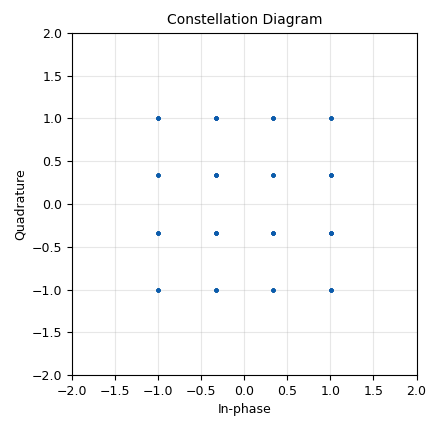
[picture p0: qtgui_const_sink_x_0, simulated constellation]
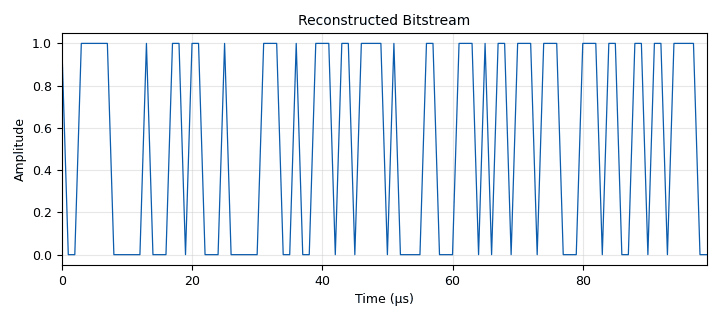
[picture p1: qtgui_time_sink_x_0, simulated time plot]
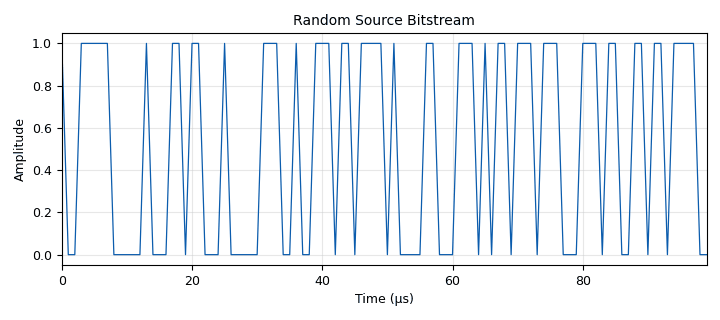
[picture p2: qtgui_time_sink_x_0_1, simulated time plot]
options:
  parameters:
    author: Paul Kim
    generate_options: qt_gui
    id: QAM_implementation_with_noise
    output_language: python
    title: QAM Implementation With Noise
  states: {}

blocks:
- name: QAM16
  id: variable
  parameters:
    value: '[(-3-3j), (-1-3j), (1-3j), (3-3j), (-3-1j), (-1-1j), (1-1j), (3-1j), (-3+1j), (-1+1j), (1+1j), (3+1j), (-3+3j), (-1+3j), (1+3j), (3+3j)]'
  states: {}
- name: QAM16_bits
  id: variable
  parameters:
    value: '4'
  states: {}
- name: QAM16_map
  id: variable
  parameters:
    value: '[0, 4, 12, 8, 1, 5, 13, 9, 3, 7, 15, 11, 2, 6, 14, 10]'
  states: {}
- name: bits_per_chunk
  id: variable_qtgui_chooser
  parameters:
    label0: bpsk_bits
    label1: qpsk_bits
    label2: QAM16_bits
    num_opts: '3'
    option0: bpsk_bits
    option1: qpsk_bits
    option2: QAM16_bits
    type: raw
    value: QAM16_bits
  states: {state: disabled}
- name: bpsk
  id: variable
  parameters:
    value: '[-1+0j, 1+0j]'
  states: {}
- name: bpsk_bits
  id: variable
  parameters:
    value: '1'
  states: {}
- name: bpsk_map
  id: variable
  parameters:
    value: '[0, 1]'
  states: {}
- name: const
  id: variable_constellation
  parameters:
    const_points: QAM16
    dims: '1'
    normalization: digital.constellation.AMPLITUDE_NORMALIZATION
    precision: '8'
    rot_sym: '4'
    sym_map: QAM16_map
    type: calcdist
  states: {}
- name: const
  id: variable_constellation
  parameters:
    npwr: '0'
    precision: '8'
    type: 16qam
  states: {state: disabled}
- name: const_pts
  id: variable_qtgui_chooser
  parameters:
    label0: bpsk
    label1: qpsk
    label2: QAM16
    num_opts: '3'
    option0: bpsk
    option1: qpsk
    option2: QAM16
    orient: Qt.QHBoxLayout
    type: raw
    value: QAM16
  states: {state: disabled}
- name: no_bits
  id: variable
  parameters:
    value: '255'
  states: {}
- name: noise
  id: variable_qtgui_range
  parameters:
    label: Noise Amplitude
    start: '0'
    step: '0.01'
    stop: '1'
    value: '0'
  states: {}
- name: qpsk
  id: variable
  parameters:
    value: '[-1-1j, 1-1j, 1+1j, -1+1j]'
  states: {}
- name: qpsk_bits
  id: variable
  parameters:
    value: '2'
  states: {}
- name: qpsk_map
  id: variable
  parameters:
    value: '[0, 2, 3, 1]'
  states: {}
- name: samp_rate
  id: variable
  parameters:
    value: '1000000'
  states: {}
- name: samples_per_symb
  id: variable
  parameters:
    value: '8'
  states: {}
- name: symb_map
  id: variable_qtgui_chooser
  parameters:
    label0: bpsk_map
    label1: qpsk_map
    label2: QAM16_map
    num_opts: '3'
    option0: bpsk_map
    option1: qpsk_map
    option2: QAM16_map
    type: raw
    value: QAM16_map
  states: {state: disabled}
- name: analog_noise_source_x_0
  id: analog_noise_source_x
  parameters:
    amp: noise
    noise_type: analog.GR_GAUSSIAN
    seed: '0'
    type: complex
  states: {}
- name: analog_random_source_x_0
  id: analog_random_source_x
  parameters:
    max: no_bits
    min: '0'
    num_samps: '1000'
    repeat: 'True'
    type: byte
  states: {}
- name: blocks_add_xx_0
  id: blocks_add_xx
  parameters:
    type: complex
  states: {}
- name: blocks_moving_average_xx_0
  id: blocks_moving_average_xx
  parameters:
    length: '1000'
    max_iter: '4000'
    scale: '1'
    type: float
  states: {}
- name: blocks_packed_to_unpacked_xx_0
  id: blocks_packed_to_unpacked_xx
  parameters:
    bits_per_chunk: QAM16_bits
    endianness: gr.GR_MSB_FIRST
    type: byte
  states: {}
- name: blocks_throttle2_0_0
  id: blocks_throttle2
  parameters:
    samples_per_second: samp_rate
    type: byte
  states: {}
- name: blocks_uchar_to_float_0
  id: blocks_uchar_to_float
  parameters: {}
  states: {}
- name: blocks_uchar_to_float_0_0
  id: blocks_uchar_to_float
  parameters: {}
  states: {}
- name: blocks_uchar_to_float_1
  id: blocks_uchar_to_float
  parameters: {}
  states: {}
- name: blocks_unpack_k_bits_bb_1
  id: blocks_unpack_k_bits_bb
  parameters:
    k: samples_per_symb
  states: {}
- name: blocks_unpack_k_bits_bb_1_0
  id: blocks_unpack_k_bits_bb
  parameters:
    k: samples_per_symb
  states: {}
- name: blocks_unpack_k_bits_bb_1_1
  id: blocks_unpack_k_bits_bb
  parameters:
    k: '8'
  states: {}
- name: blocks_unpack_k_bits_bb_1_2
  id: blocks_unpack_k_bits_bb
  parameters:
    k: '8'
  states: {}
- name: blocks_unpacked_to_packed_xx_0
  id: blocks_unpacked_to_packed_xx
  parameters:
    bits_per_chunk: QAM16_bits
    endianness: gr.GR_MSB_FIRST
    type: byte
  states: {}
- name: blocks_xor_xx_0
  id: blocks_xor_xx
  parameters:
    type: byte
  states: {}
- name: digital_constellation_decoder_cb_0
  id: digital_constellation_decoder_cb
  parameters:
    constellation: const
  states: {}
- name: digital_constellation_encoder_bc_0
  id: digital_constellation_encoder_bc
  parameters:
    constellation: const
  states: {}
- name: qtgui_const_sink_x_0
  id: qtgui_const_sink_x
  parameters:
    name: '"Constellation Diagram"'
    size: '1024'
    type: complex
    update_time: '0.010'
  states: {}
- name: qtgui_number_sink_0_0
  id: qtgui_number_sink
  parameters:
    graph_type: qtgui.NUM_GRAPH_HORIZ
    max: '500'
    min: '0'
    name: '"Error Rate/1000 (Moving Avg)"'
    type: float
    update_time: '0.1'
  states: {}
- name: qtgui_time_sink_x_0
  id: qtgui_time_sink_x
  parameters:
    autoscale: 'True'
    grid: 'True'
    name: '"Reconstructed Bitstream"'
    size: '100'
    srate: samp_rate
    type: float
    update_time: '1'
    ymax: '-1'
    ymin: '1'
  states: {}
- name: qtgui_time_sink_x_0_1
  id: qtgui_time_sink_x
  parameters:
    autoscale: 'True'
    grid: 'True'
    name: '"Random Source Bitstream"'
    size: '100'
    srate: samp_rate
    type: float
    update_time: '1'
    ymax: '-1'
    ymin: '1'
  states: {}
- name: qtgui_time_sink_x_1
  id: qtgui_time_sink_x
  parameters:
    name: '"Errors"'
    size: '1024'
    srate: samp_rate
    type: float
    update_time: '0.1'
    ymax: '1.1'
    ymin: '-0.1'
  states: {}
- name: qtgui_time_sink_x_1_0_0
  id: qtgui_time_sink_x
  parameters:
    name: '"Error Rate/1000 (Moving Avg)"'
    size: '1024'
    srate: samp_rate
    type: float
    update_time: '0.25'
    ylabel: Errors/1000
    ymax: '500'
    ymin: '0'
  states: {}
- name: virtual_sink_0
  id: virtual_sink
  parameters:
    stream_id: channel
  states: {}
- name: virtual_source_0
  id: virtual_source
  parameters:
    stream_id: channel
  states: {}

connections:
- [analog_noise_source_x_0, '0', blocks_add_xx_0, '1']
- [analog_random_source_x_0, '0', blocks_throttle2_0_0, '0']
- [blocks_add_xx_0, '0', qtgui_const_sink_x_0, '0']
- [blocks_add_xx_0, '0', virtual_sink_0, '0']
- [blocks_moving_average_xx_0, '0', qtgui_number_sink_0_0, '0']
- [blocks_moving_average_xx_0, '0', qtgui_time_sink_x_1_0_0, '0']
- [blocks_packed_to_unpacked_xx_0, '0', digital_constellation_encoder_bc_0, '0']
- [blocks_throttle2_0_0, '0', blocks_packed_to_unpacked_xx_0, '0']
- [blocks_throttle2_0_0, '0', blocks_unpack_k_bits_bb_1, '0']
- [blocks_throttle2_0_0, '0', blocks_unpack_k_bits_bb_1_2, '0']
- [blocks_uchar_to_float_0, '0', qtgui_time_sink_x_0_1, '0']
- [blocks_uchar_to_float_0_0, '0', blocks_moving_average_xx_0, '0']
- [blocks_uchar_to_float_0_0, '0', qtgui_time_sink_x_1, '0']
- [blocks_uchar_to_float_1, '0', qtgui_time_sink_x_0, '0']
- [blocks_unpack_k_bits_bb_1, '0', blocks_uchar_to_float_0, '0']
- [blocks_unpack_k_bits_bb_1_0, '0', blocks_uchar_to_float_1, '0']
- [blocks_unpack_k_bits_bb_1_1, '0', blocks_xor_xx_0, '0']
- [blocks_unpack_k_bits_bb_1_2, '0', blocks_xor_xx_0, '1']
- [blocks_unpacked_to_packed_xx_0, '0', blocks_unpack_k_bits_bb_1_0, '0']
- [blocks_unpacked_to_packed_xx_0, '0', blocks_unpack_k_bits_bb_1_1, '0']
- [blocks_xor_xx_0, '0', blocks_uchar_to_float_0_0, '0']
- [digital_constellation_decoder_cb_0, '0', blocks_unpacked_to_packed_xx_0, '0']
- [digital_constellation_encoder_bc_0, '0', blocks_add_xx_0, '0']
- [virtual_source_0, '0', digital_constellation_decoder_cb_0, '0']

metadata:
  file_format: 1
  grc_version: 3.10.12.0
